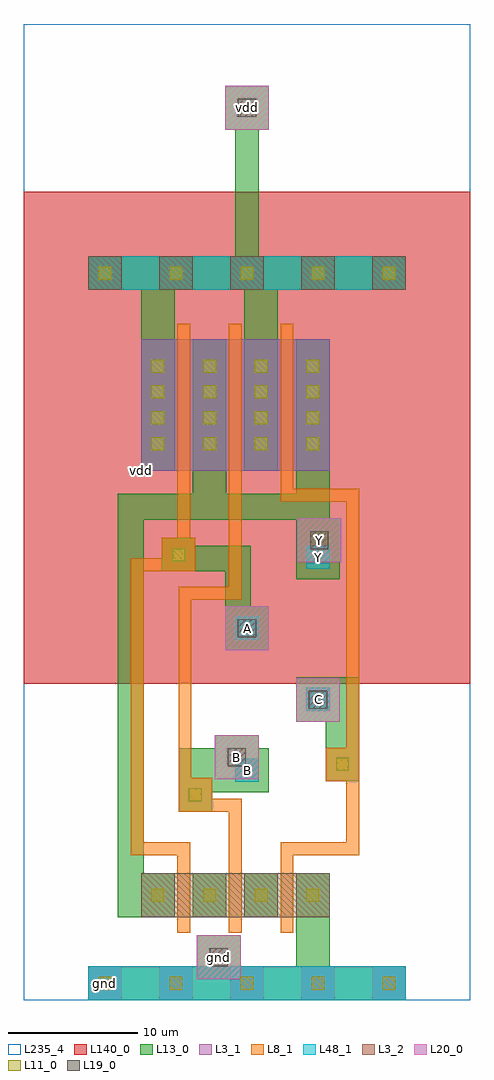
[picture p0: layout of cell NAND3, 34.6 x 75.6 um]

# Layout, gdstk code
import gdstk
lib = gdstk.Library(unit=1e-6, precision=1e-09)
def R(c, l, rs):  # rectangles x0, y0, x1, y1
    for r in rs: c.add(gdstk.rectangle(r[:2], r[2:], *l))
def A(c, l, x, y, w, h, nx, ny, dx, dy):  # array of equal rectangles
    R(c, l, [(x+i*dx, y+j*dy, x+i*dx+w, y+j*dy+h) for i in range(nx) for j in range(ny)])
def P(c, l, *ps):  # polygons
    for p in ps: c.add(gdstk.Polygon(p, *l))
L3_1 = (3, 1)
L3_2 = (3, 2)
L8_1 = (8, 1)
L11_0 = (11, 0)
L13_0 = (13, 0)
L19_0 = (19, 0)
L20_0 = (20, 0)
L48_1 = (48, 1)
L140_0 = (140, 0)
L235_4 = (235, 4)

nand3 = lib.new_cell('NAND3')
A(nand3, L3_1, 5, 0, 2.6, 2.6, 5, 1, 5.5, 0)
R(nand3, L3_1, [(9.1,41,23.7,51.2)])
A(nand3, L3_2, 5, 55, 2.6, 2.6, 5, 1, 5.5, 0)
R(nand3, L3_2, [(9.1,6.4,23.7,9.8)])
P(nand3, L8_1, [(11.9,5.2),(11.9,11.2),(8.3,11.2),(8.3,34.2),(10.7,34.2),(10.7,35.8),(11.9,35.8),(11.9,52.4),(12.9,52.4),(12.9,35.8),(13.3,35.8),(13.3,33.2),(9.3,33.2),(9.3,12.2),(12.9,12.2),(12.9,5.2)],
  [(15.9,5.2),(15.9,14.6),(12,14.6),(12,32),(15.9,32),(15.9,52.4),(16.9,52.4),(16.9,31),(13,31),(13,17.2),(14.6,17.2),(14.6,15.6),(16.9,15.6),(16.9,5.2)],
  [(19.9,5.2),(19.9,12.2),(25,12.2),(25,16.95),(23.4,16.95),(23.4,19.55),(25,19.55),(25,38.6),(19.9,38.6),(19.9,52.4),(20.9,52.4),(20.9,39.6),(26,39.6),(26,11.2),(20.9,11.2),(20.9,5.2)])
A(nand3, L11_0, 5.8, 0.8, 1, 1, 5, 2, 5.5, 55)
A(nand3, L11_0, 9.9, 42.6, 1, 1, 1, 4, 0, 2)
A(nand3, L11_0, 21.9, 42.6, 1, 1, 1, 4, 0, 2)
R(nand3, L11_0, [(9.9,7.6,10.9,8.6), (13.9,7.6,14.9,8.6), (13.9,7.6,14.9,8.6), (17.9,7.6,18.9,8.6), (17.9,7.6,18.9,8.6), (21.9,7.6,22.9,8.6), (12.8,15.4,13.8,16.4), (24.2,17.75,25.2,18.75), (11.5,34,12.5,35), (13.9,42.6,14.9,43.6), (13.9,42.6,14.9,43.6), (17.9,42.6,18.9,43.6), (17.9,42.6,18.9,43.6), (13.9,44.6,14.9,45.6), (13.9,44.6,14.9,45.6), (17.9,44.6,18.9,45.6), (17.9,44.6,18.9,45.6), (13.9,46.6,14.9,47.6), (13.9,46.6,14.9,47.6), (17.9,46.6,18.9,47.6), (17.9,46.6,18.9,47.6), (13.9,48.6,14.9,49.6), (13.9,48.6,14.9,49.6), (17.9,48.6,18.9,49.6), (17.9,48.6,18.9,49.6)])
R(nand3, L13_0, [(13.1,6.4,15.7,9.8), (17.1,6.4,19.7,9.8)])
P(nand3, L13_0, [(5,0),(5,2.6),(13.4,2.6),(13.4,5),(16.8,5),(16.8,2.6),(21.1,2.6),(21.1,9.8),(23.7,9.8),(23.7,2.6),(29.6,2.6),(29.6,0)],
  [(12,14.6),(12,19.5),(14.8,19.5),(14.8,20.5),(18.2,20.5),(18.2,19.5),(19,19.5),(19,16.1),(14.6,16.1),(14.6,14.6)],
  [(23.4,16.95),(23.4,21.55),(21.1,21.55),(21.1,25),(26,25),(26,16.95)],
  [(15.6,27.1),(15.6,33.2),(10.7,33.2),(10.7,35.8),(13.3,35.8),(13.3,35.2),(17.6,35.2),(17.6,30.5),(19,30.5),(19,27.1)],
  [(7.3,6.4),(7.3,39.2),(13.1,39.2),(13.1,51.2),(15.7,51.2),(15.7,39.2),(21.1,39.2),(21.1,51.2),(23.7,51.2),(23.7,37.3),(24.6,37.3),(24.6,33.9),(24.5,33.9),(24.5,32.6),(21.1,32.6),(21.1,37.2),(9.3,37.2),(9.3,9.8),(11.7,9.8),(11.7,6.4)],
  [(9.1,41),(9.1,55),(5,55),(5,57.6),(16.4,57.6),(16.4,67.4),(15.6,67.4),(15.6,70.8),(19,70.8),(19,67.4),(18.2,67.4),(18.2,57.6),(29.6,57.6),(29.6,55),(19.7,55),(19.7,41),(17.1,41),(17.1,55),(11.7,55),(11.7,41)])
R(nand3, L19_0, [(14.4,2.6,15.8,4), (15.8,18.1,17.2,19.5), (22.1,22.55,23.5,23.95), (16.6,28.1,18,29.5), (22.2,34.9,23.6,36.3), (16.6,68.4,18,69.8)])
R(nand3, L20_0, [(13.4,1.6,16.8,5), (14.8,17.1,18.2,20.5), (21.1,21.55,24.5,24.95), (15.6,27.1,19,30.5), (21.2,33.9,24.6,37.3), (15.6,67.4,19,70.8)])
R(nand3, L48_1, [(5,0,29.6,2.6), (16.4,16.9,18.2,18.7), (21.9,22.4,23.7,24.2), (16.4,27.9,18.2,29.7), (21.9,33.4,23.7,35.2), (5,55,29.6,57.6)])
R(nand3, L140_0, [(0,24.5,34.6,62.6)])
R(nand3, L235_4, [(0,0,34.6,75.6)])
nand3.add(gdstk.Label('Y', (22.8,34.3), layer=48, texttype=0))
nand3.add(gdstk.Label('A', (17.3,28.8), layer=48, texttype=0))
nand3.add(gdstk.Label('C', (22.8,23.3), layer=48, texttype=0))
nand3.add(gdstk.Label('B', (17.3,17.8), layer=48, texttype=0))
nand3.add(gdstk.Label('vdd', (9.15,41.05), layer=48, texttype=0))
nand3.add(gdstk.Label('gnd', (6.3,1.3), layer=48, texttype=0))
nand3.add(gdstk.Label('A', (17.3,28.8), layer=49, texttype=0))
nand3.add(gdstk.Label('B', (16.5,18.8), layer=49, texttype=0))
nand3.add(gdstk.Label('C', (22.8,23.25), layer=49, texttype=0))
nand3.add(gdstk.Label('Y', (22.9,35.6), layer=49, texttype=0))
nand3.add(gdstk.Label('vdd', (17.3,69.1), layer=49, texttype=0))
nand3.add(gdstk.Label('gnd', (15.1,3.3), layer=49, texttype=0))

lib.write_gds('NAND3.gds')
